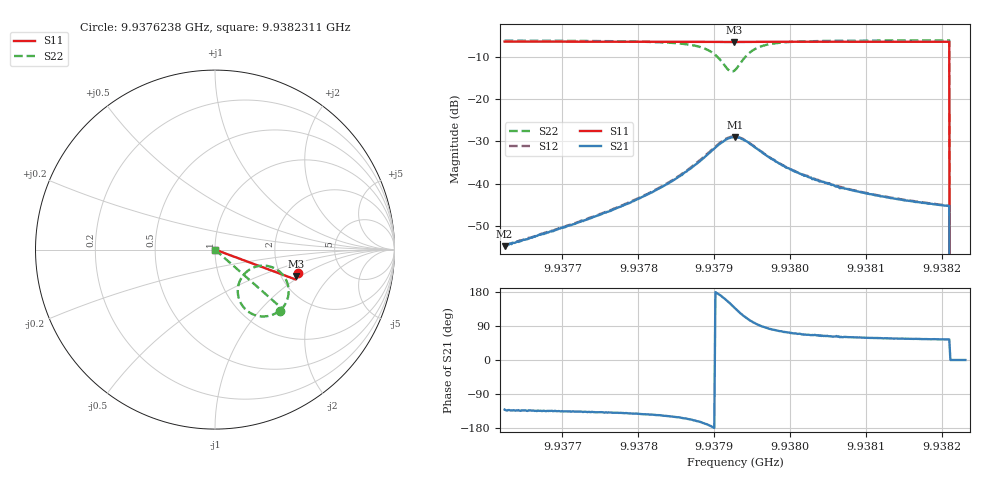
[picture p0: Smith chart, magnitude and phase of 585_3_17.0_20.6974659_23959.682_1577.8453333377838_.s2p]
#  HZ  S  RI  R  50.00
! Rohde & Schwarz Vector Network Analyzer
! Rohde-Schwarz,ZNB20-2Port,1311601062101988,3.16
! Created: UTC 3/20/2024, 11:18:18 PM
! freq[Hz]  re:S11  im:S11  re:S21  im:S21  re:S12  im:S12  re:S22  im:S22
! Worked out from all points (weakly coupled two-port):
!   401 points, 9.9376238 GHz to 9.9382311 GHz, reference 50 ohm
!   highest |S21| = -28.97 dB at 9.9379274 GHz (marker M1); lowest = -54.8 dB at 9.9376238 GHz (marker M2)
!   lowest |S11| = -6.4 dB at 9.9379259 GHz (marker M3), VSWR 2.82, Z = 121 - j45.9 ohm
!   |S11| at or under -10 dB: 9.9382099 GHz to end of sweep
!   |S22| runs from - to -6.1 dB; largest |S21 - S12| = 0.0016
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9.93762376e9  0.4645 -0.1295  -0.00119 -0.00137  -0.00127 -0.00135  0.3601 -0.3402
9.93772549e9  0.4619 -0.1364  -0.00263 -0.00251  -0.00267 -0.00246  0.3426 -0.352
9.93778774e9  0.4604 -0.1407  -0.00456 -0.00371  -0.0047 -0.00371  0.3224 -0.3621
9.93782722e9  0.4589 -0.1436  -0.00718 -0.00493  -0.00743 -0.00491  0.2975 -0.3697
9.93786214e9  0.4576 -0.1461  -0.0124 -0.00599  -0.0126 -0.00579  0.2537 -0.3717
9.93788947e9  0.4558 -0.1478  -0.021 -0.00409  -0.0217 -0.00374  0.1849 -0.3454
9.93790162e9  0.4547 -0.1482  -0.0267 0.000425  -0.0274 0.00112  0.1454 -0.3012
9.93791225e9  0.4537 -0.1479  -0.0305 0.00865  -0.0312 0.00986  0.1269 -0.2293
9.93791984e9  0.4534 -0.1474  -0.0304 0.0166  -0.0304 0.0181  0.143 -0.1654
9.93792591e9  0.4534 -0.1471  -0.0271 0.0229  -0.0266 0.0244  0.1795 -0.1208
9.93792743e9  0.4536 -0.1469  -0.0259 0.0244  -0.0255 0.0259  0.1909 -0.1125
9.93793654e9  0.4543 -0.1468  -0.0169 0.0291  -0.0162 0.0303  0.2687 -0.0891
9.93794565e9  0.4551 -0.1472  -0.00866 0.0292  -0.00766 0.0297  0.3336 -0.105
9.93796083e9  0.4559 -0.1485  -0.000257 0.0242  0.00057 0.0243  0.3898 -0.1573
9.93797602e9  0.4559 -0.1499  0.00321 0.0193  0.00351 0.0193  0.4073 -0.2013
9.93799727e9  0.4557 -0.152  0.00457 0.0146  0.00492 0.0146  0.4103 -0.2417
9.93802916e9  0.4549 -0.1545  0.00459 0.0103  0.00503 0.0104  0.4038 -0.2749
9.93806712e9  0.454 -0.1572  0.00428 0.00779  0.00454 0.00788  0.3951 -0.2961
9.93813089e9  0.4522 -0.1615  0.0037 0.00572  0.00383 0.00568  0.3838 -0.3151
9.9382068e9  0.4501 -0.1665  0.00319 0.00442  0.0033 0.00442  0.3741 -0.3281
9.93821439e9  0 0  0 0  0 0  0 0
9.9382311e9  0 0  0 0  0 0  0 0
